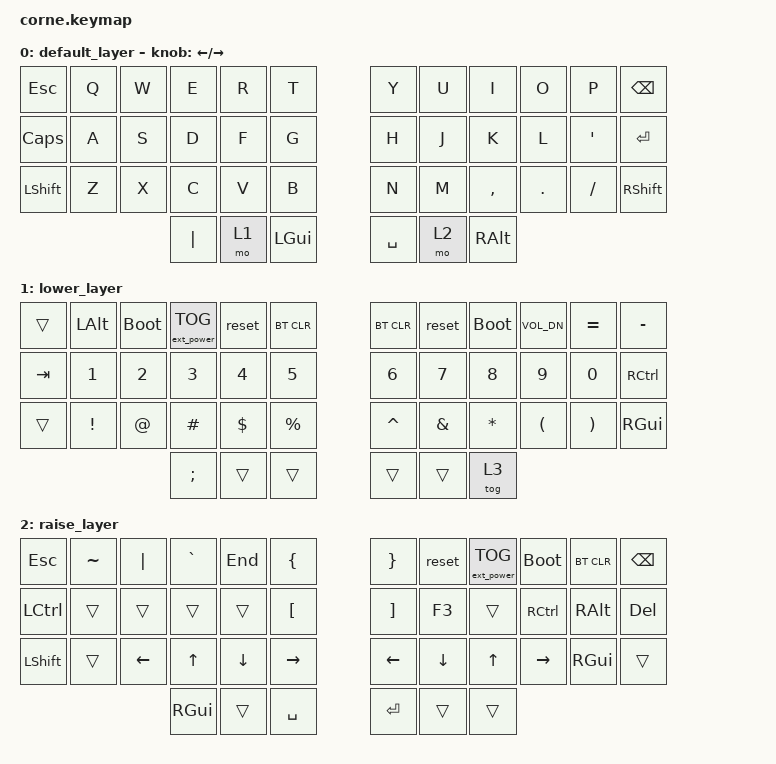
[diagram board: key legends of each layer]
/*
 * Copyright (c) 2020 The ZMK Contributors
 *
 * SPDX-License-Identifier: MIT
 */

#include <behaviors.dtsi>
#include <dt-bindings/zmk/keys.h>
#include <dt-bindings/zmk/bt.h>
#include <dt-bindings/zmk/ext_power.h>

/ {
        keymap {
                compatible = "zmk,keymap";

                default_layer {
// -----------------------------------------------------------------------------------------
// |  ESC |  Q  |  W  |  E  |  R  |  T  |   |  Y  |  U   |  I  |  O  |  P  | BKSP |
// | CLCK |  A  |  S  |  D  |  F  |  G  |   |  H  |  J   |  K  |  L  |  '  | RET  |
// | SHFT |  Z  |  X  |  C  |  V  |  B  |   |  N  |  M   |  ,  |  .  |  /  | SHFT |
//                    | "|" | LWR | GUI |   | SPC | RSE  | GUI |
                        bindings = <
   &kp ESC   &kp Q &kp W &kp E    &kp R &kp T         &kp Y     &kp U  &kp I     &kp O   &kp P    &kp BSPC
   &kp CLCK  &kp A &kp S &kp D    &kp F &kp G         &kp H     &kp J  &kp K     &kp L   &kp APOS &kp ENTER
   &kp LSHFT &kp Z &kp X &kp C    &kp V &kp B         &kp N     &kp M  &kp COMMA &kp DOT &kp FSLH &kp RSHFT
                         &kp PIPE &mo 1 &kp LGUI     &kp SPACE &mo 2  &kp RALT
                        >;
                      sensor-bindings = <&inc_dec_kp LEFT RIGHT>;
                };
                lower_layer {
// -----------------------------------------------------------------------------------------
// |  ESC | ALT | PGDN | PWR | REST | BTC |   | BTC | VOLU | P/P | VOLD |  =  |   -  |
// |  TAB |  1  |  2   |  3  |  4   |  5  |   |  6  |  7   |  8  |   9  |  0  |  CTL |
// | SHFT |  !  |  @   |  #  |  $   |  %  |   |  ^  |  &   |  *  |   (  |  )  | RGUI |
//                     |  ;  | LWR  | CTL |   | SPC | RSE  | TOG |
                        bindings = <
&trans  &kp LALT &bootloader &ext_power EP_TOG &reset &bt BT_CLR    &bt BT_CLR &reset &bootloader &kp K_VOL_DN &kp EQUAL &kp MINUS
&kp TAB &kp N1   &kp N2    &kp N3            &kp N4    &kp N5        &kp N6     &kp N7       &kp N8   &kp N9       &kp N0    &kp RCTRL
&trans  &kp EXCL &kp AT    &kp HASH          &kp DLLR  &kp PRCNT     &kp CARET  &kp AMPS     &kp STAR &kp LPAR     &kp RPAR  &kp RGUI
                 &kp SEMI          &trans    &trans        &trans     &trans       &tog 3
                        >;
                };

                raise_layer {
// -----------------------------------------------------------------------------------------
// |  ESC |  ~  | "|" |  `  | END |  {  |   |  }  | HOME | PWR | BACK | FWD | BKSP |
// | CTRL |     |     |     |     | "[" |   | "]" |  F3  |     |  CTL | ALT |  DEL |
// | SHFT |     |  <  |  ^  |  v  |  >  |   |  <  |  ^   |  v  |  >   |  \  | SHFT |
//                    | GUI |     | SPC |   | ENT |      | GUI |
                        bindings = <
&kp  ESC  &kp TILDE &kp PIPE &kp GRAVE &kp END   &kp LBRC      &kp RBRC   &reset  &ext_power EP_TOG  &bootloader  &bt BT_CLR &kp BSPC
&kp LCTRL &trans    &trans   &trans    &trans    &kp LBKT      &kp RBKT   &kp F3    &trans             &kp RCTRL   &kp RALT      &kp DEL
&kp LSHFT &trans    &kp LEFT &kp UP    &kp DOWN  &kp RIGHT     &kp LEFT   &kp DOWN  &kp UP             &kp RIGHT   &kp RGUI      &trans
                    &kp RGUI  &trans    &kp SPACE     &kp RET    &trans    &trans
                        >;
                        };
        };
};
